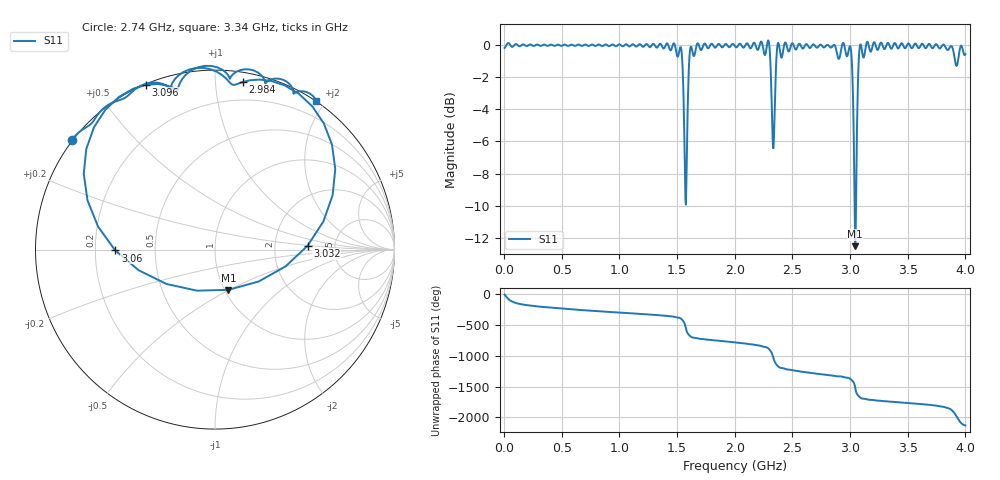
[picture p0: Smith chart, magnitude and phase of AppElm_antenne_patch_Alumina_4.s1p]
! TOUCHSTONE file generated by CST MICROWAVE STUDIO
! Date and time: Thu Jun  9 14:52:36 2022
! Project name: AppElm_antenne_patch_Alumina.cst
! Parameters = {L=30.5; W=41.8; e=0.035; h=1.6; lambda=0.190476; ls=90; w0=1.12; w1=0.373; ws=90; y0=12.6; y1=10}
! Header version: 2018
! Port assignment regex: !\s*Touchstone port\s*([0-9]+)\s*=\s*(CST MWS port|CST DS port)\s*([0-9]+|Zmin|Zmax)\s*\(\"(.*)\"\)(\s*mode\s*([0-9]+))?.*
! Touchstone port assignment:
! Touchstone port 1 = CST MWS port 1 ("")
# GHz S MA R 50
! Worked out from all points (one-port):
!   1000 points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, 4 MHz to 4 GHz, reference 50 ohm
!   lowest |S11| = -12.5 dB at 3.044 GHz (marker M1), VSWR 1.62, Z = 52.1 - j24.8 ohm
!   |S11| at or under -10 dB: 3.039344 GHz to 3.051313 GHz (11.97 MHz wide, 0.393 % of centre)
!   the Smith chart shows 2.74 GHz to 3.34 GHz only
!   S11 on the Smith chart (normalised r, x): 2.74 GHz: -0.00, +0.34; 2.984 GHz: 0.06, +1.18; 3.032 GHz: 3.12, +0.18; 3.06 GHz: 0.29, -0.00; 3.096 GHz: 0.00, +0.67; 3.34 GHz: -0.01, +1.89
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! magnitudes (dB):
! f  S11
! 4 MHz  -0.2
! 504 MHz  0.0
! 1.004 GHz  0.0
! 1.504 GHz  -0.7
! 1.536 GHz  -0.2
! 1.564 GHz  -6.3
! 1.576 GHz  -9.9
! 1.588 GHz  -5.3
! 1.608 GHz  -0.6
! 1.624 GHz  -0.1
! 2.004 GHz  -0.1
! 2.288 GHz  0.3
! 2.324 GHz  -4.7
! 2.336 GHz  -6.4
! 2.376 GHz  0.2
! 2.504 GHz  0.1
! 2.74 GHz  0.0
! 2.984 GHz  -0.5
! 3.004 GHz  -0.1
! 3.016 GHz  -1.2
! 3.032 GHz  -5.8
! 3.044 GHz  -12.5
! 3.06 GHz  -5.1
! 3.08 GHz  -0.4
! 3.096 GHz  0.0
! 3.34 GHz  0.0
! 3.504 GHz  0.1
! 4 GHz  -0.6
